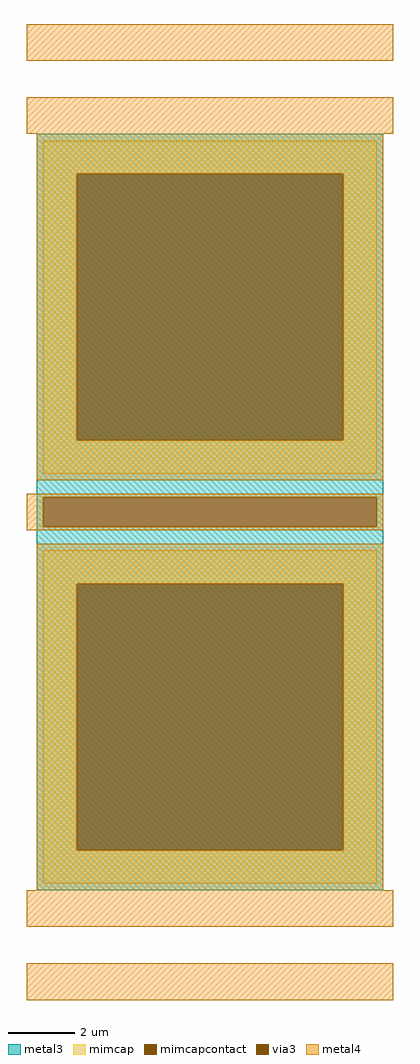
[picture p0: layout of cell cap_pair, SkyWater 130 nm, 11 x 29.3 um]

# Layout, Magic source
magic
tech sky130A
<< metal3 >>
rect -220 -170 820 920
rect -220 -260 -200 -170
rect 800 -260 820 -170
rect -220 -1350 820 -260
<< via3 >>
rect -200 -260 800 -170
<< mimcap >>
rect -200 800 800 900
rect -200 0 -100 800
rect 700 0 800 800
rect -200 -100 800 0
rect -200 -430 800 -330
rect -200 -1230 -100 -430
rect 700 -1230 800 -430
rect -200 -1330 800 -1230
<< mimcapcontact >>
rect -100 0 700 800
rect -100 -1230 700 -430
<< metal4 >>
rect -250 1140 850 1250
rect -250 920 850 1030
rect -220 800 820 920
rect -220 0 -100 800
rect 700 0 820 800
rect -220 -120 820 0
rect -250 -170 820 -160
rect -250 -260 -200 -170
rect 800 -260 820 -170
rect -250 -270 820 -260
rect -220 -430 820 -310
rect -220 -1230 -100 -430
rect 700 -1230 820 -430
rect -220 -1350 820 -1230
rect -250 -1460 850 -1350
rect -250 -1680 850 -1570
<< end >>
